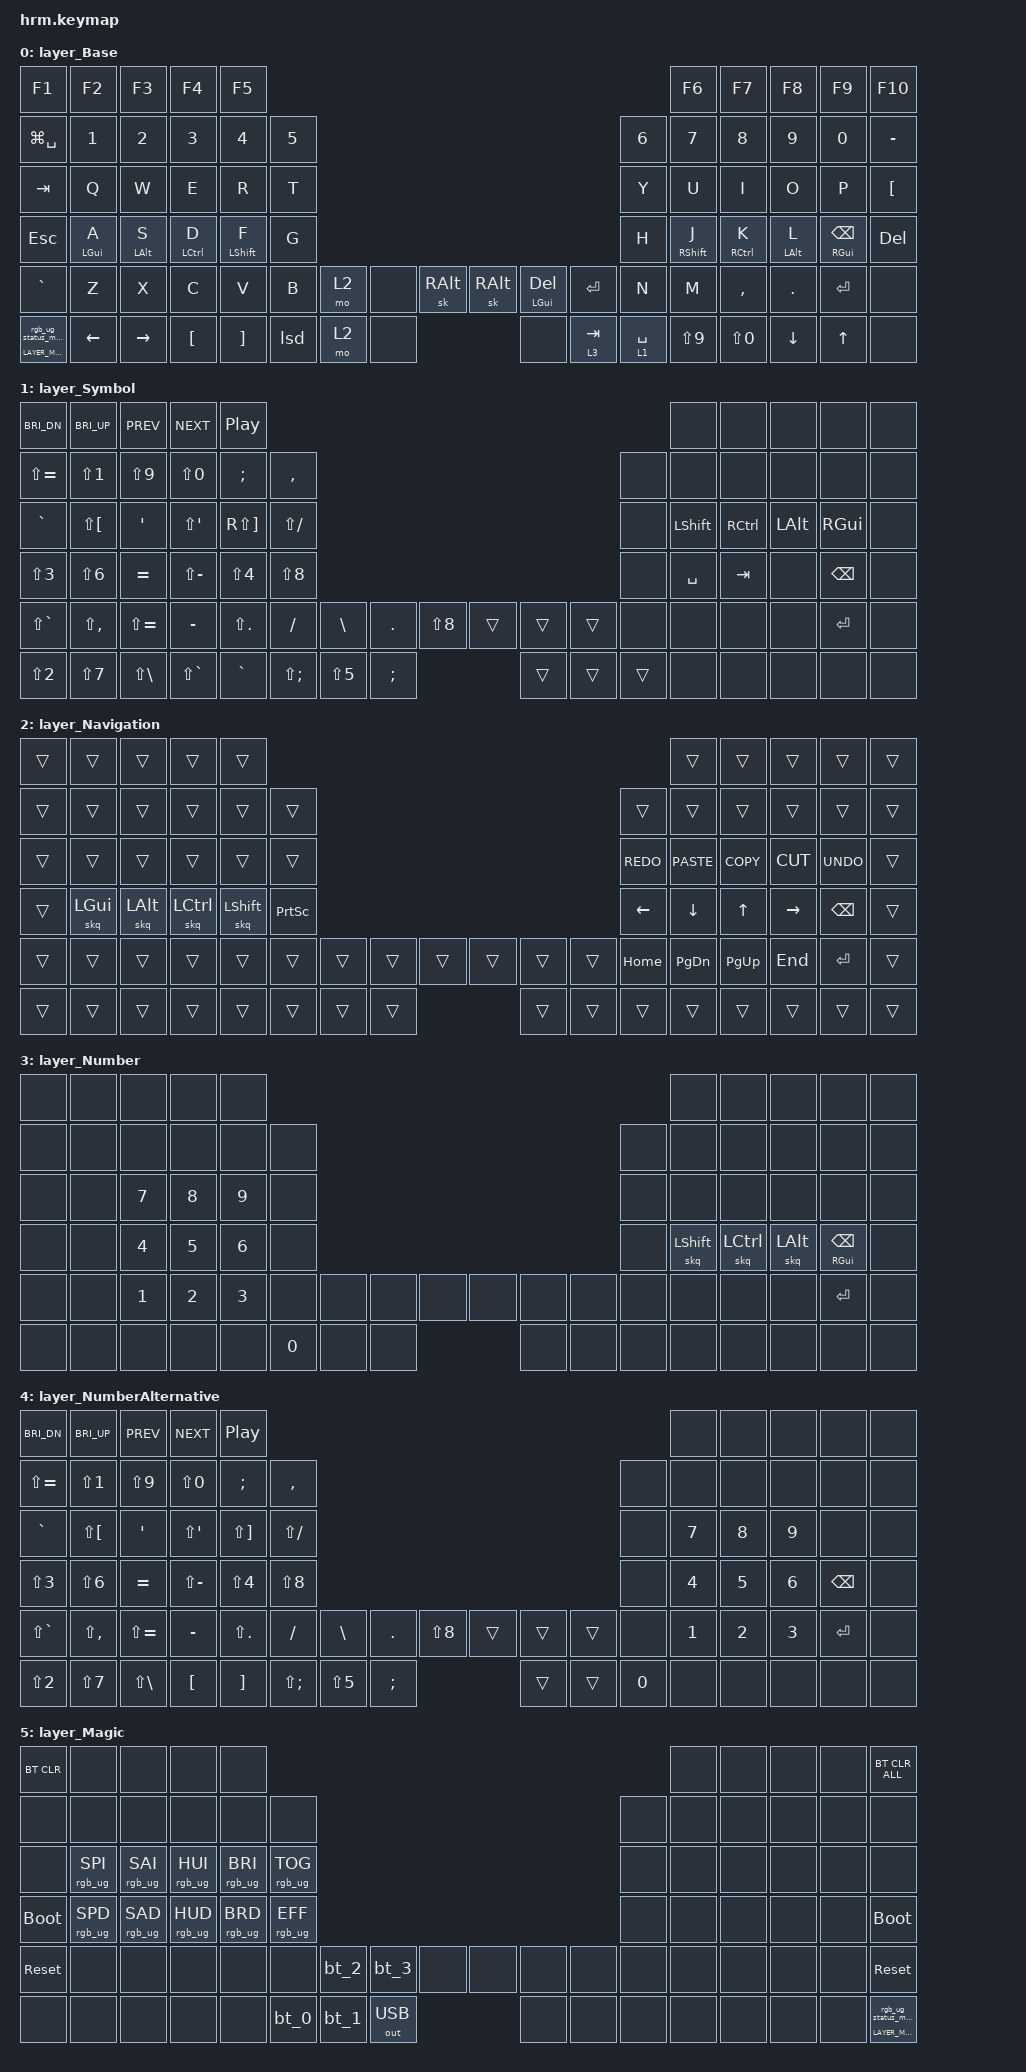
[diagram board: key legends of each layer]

/*
 * Copyright (c) 2020 The ZMK Contributors
 * Copyright (c) 2023 Innaworks Development Limited, trading as MoErgo
 *
 * SPDX-License-Identifier: MIT
 */


/* THIS FILE WAS GENERATED BY GLOVE80 LAYOUT EDITOR
 *
 * This file was generated automatically. You may or may not want to
 * edit it directly.
 */

#include <behaviors.dtsi>
/* Include all behavior includes needed */
#include <dt-bindings/zmk/outputs.h>
#include <dt-bindings/zmk/keys.h>
#include <dt-bindings/zmk/bt.h>
#include <dt-bindings/zmk/rgb.h>

/* Automatically generated layer name #define */
#define LAYER_Base 0
#define LAYER_Symbol 1
#define LAYER_Navigation 2
#define LAYER_Number 3
#define LAYER_NumberAlternative 4
#define LAYER_Magic 5

/* To deal with the situation where there is no Lower layer, to keep &lower happy */
#ifndef LAYER_Lower
#define LAYER_Lower 0
#endif

/* Custom Device-tree */



/* Glove80 system behavior & macros */
/ {
    behaviors {
        // For the "layer" key, it'd nice to be able to use it as either a shift or a toggle.
        // Configure it as a tap dance, so the first tap (or hold) is a &mo and the second tap is a &to
        lower: lower {
            compatible = "zmk,behavior-tap-dance";
            label = "LAYER_TAP_DANCE";
            #binding-cells = <0>;
            tapping-term-ms = <200>;
            bindings = <&mo LAYER_Lower>, <&to LAYER_Lower>;
        };
    };
};

/ {
    macros {
        rgb_ug_status_macro: rgb_ug_status_macro {
            label = "RGB_UG_STATUS";
            compatible = "zmk,behavior-macro";
            #binding-cells = <0>;
            bindings
                = <&rgb_ug RGB_STATUS>;
        };
    };
};


/ {
#ifdef BT_DISC_CMD
    behaviors {
        bt_0: bt_0 {
            compatible = "zmk,behavior-tap-dance";
            label = "BT_0";
            #binding-cells = <0>;
            tapping-term-ms = <200>;
            bindings = <&bt_select_0>, <&bt BT_DISC 0>;
        };
        bt_1: bt_1 {
            compatible = "zmk,behavior-tap-dance";
            label = "BT_1";
            #binding-cells = <0>;
            tapping-term-ms = <200>;
            bindings = <&bt_select_1>, <&bt BT_DISC 1>;
        };
        bt_2: bt_2 {
            compatible = "zmk,behavior-tap-dance";
            label = "BT_2";
            #binding-cells = <0>;
            tapping-term-ms = <200>;
            bindings = <&bt_select_2>, <&bt BT_DISC 2>;
        };
        bt_3: bt_3 {
            compatible = "zmk,behavior-tap-dance";
            label = "BT_3";
            #binding-cells = <0>;
            tapping-term-ms = <200>;
            bindings = <&bt_select_3>, <&bt BT_DISC 3>;
        };
    };
    macros {
        bt_select_0: bt_select_0 {
            label = "BT_SELECT_0";
            compatible = "zmk,behavior-macro";
            #binding-cells = <0>;
            bindings
                = <&out OUT_BLE>,
                  <&bt BT_SEL 0>;
        };
        bt_select_1: bt_select_1 {
            label = "BT_SELECT_1";
            compatible = "zmk,behavior-macro";
            #binding-cells = <0>;
            bindings
                = <&out OUT_BLE>,
                  <&bt BT_SEL 1>;
        };
        bt_select_2: bt_select_2 {
            label = "BT_SELECT_2";
            compatible = "zmk,behavior-macro";
            #binding-cells = <0>;
            bindings
                = <&out OUT_BLE>,
                  <&bt BT_SEL 2>;
        };
        bt_select_3: bt_select_3 {
            label = "BT_SELECT_3";
            compatible = "zmk,behavior-macro";
            #binding-cells = <0>;
            bindings
                = <&out OUT_BLE>,
                  <&bt BT_SEL 3>;
        };
    };
#else
    macros {
        bt_0: bt_0 {
            label = "BT_0";
            compatible = "zmk,behavior-macro";
            #binding-cells = <0>;
            bindings
                = <&out OUT_BLE>,
                  <&bt BT_SEL 0>;
        };
        bt_1: bt_1 {
            label = "BT_1";
            compatible = "zmk,behavior-macro";
            #binding-cells = <0>;
            bindings
                = <&out OUT_BLE>,
                  <&bt BT_SEL 1>;
        };
        bt_2: bt_2 {
            label = "BT_2";
            compatible = "zmk,behavior-macro";
            #binding-cells = <0>;
            bindings
                = <&out OUT_BLE>,
                  <&bt BT_SEL 2>;
        };
        bt_3: bt_3 {
            label = "BT_3";
            compatible = "zmk,behavior-macro";
            #binding-cells = <0>;
            bindings
                = <&out OUT_BLE>,
                  <&bt BT_SEL 3>;
        };
    };
#endif
};

/ {
    behaviors {
        magic: magic {
            compatible = "zmk,behavior-hold-tap";
            label = "MAGIC_HOLD_TAP";
            #binding-cells = <2>;
            flavor = "tap-preferred";
            tapping-term-ms = <200>;
            bindings = <&mo>, <&rgb_ug_status_macro>;
        };
    };
};

/* #define for key positions */
#define POS_LH_T1 52
#define POS_LH_T2 53
#define POS_LH_T3 54
#define POS_LH_T4 69
#define POS_LH_T5 70
#define POS_LH_T6 71
#define POS_LH_C1R2 15
#define POS_LH_C1R3 27
#define POS_LH_C1R4 39
#define POS_LH_C1R5 51
#define POS_LH_C2R1 4
#define POS_LH_C2R2 14
#define POS_LH_C2R3 26
#define POS_LH_C2R4 38
#define POS_LH_C2R5 50
#define POS_LH_C2R6 68
#define POS_LH_C3R1 3
#define POS_LH_C3R2 13
#define POS_LH_C3R3 25
#define POS_LH_C3R4 37
#define POS_LH_C3R5 49
#define POS_LH_C3R6 67
#define POS_LH_C4R1 2
#define POS_LH_C4R2 12
#define POS_LH_C4R3 24
#define POS_LH_C4R4 36
#define POS_LH_C4R5 48
#define POS_LH_C4R6 66
#define POS_LH_C5R1 1
#define POS_LH_C5R2 11
#define POS_LH_C5R3 23
#define POS_LH_C5R4 35
#define POS_LH_C5R5 47
#define POS_LH_C5R6 65
#define POS_LH_C6R1 0
#define POS_LH_C6R2 10
#define POS_LH_C6R3 22
#define POS_LH_C6R4 34
#define POS_LH_C6R5 46
#define POS_LH_C6R6 64
#define POS_RH_T1 57
#define POS_RH_T2 56
#define POS_RH_T3 55
#define POS_RH_T4 74
#define POS_RH_T5 73
#define POS_RH_T6 72
#define POS_RH_C1R2 16
#define POS_RH_C1R3 28
#define POS_RH_C1R4 40
#define POS_RH_C1R5 58
#define POS_RH_C2R1 5
#define POS_RH_C2R2 17
#define POS_RH_C2R3 29
#define POS_RH_C2R4 41
#define POS_RH_C2R5 59
#define POS_RH_C2R6 75
#define POS_RH_C3R1 6
#define POS_RH_C3R2 18
#define POS_RH_C3R3 30
#define POS_RH_C3R4 42
#define POS_RH_C3R5 60
#define POS_RH_C3R6 76
#define POS_RH_C4R1 7
#define POS_RH_C4R2 19
#define POS_RH_C4R3 31
#define POS_RH_C4R4 43
#define POS_RH_C4R5 61
#define POS_RH_C4R6 77
#define POS_RH_C5R1 8
#define POS_RH_C5R2 20
#define POS_RH_C5R3 32
#define POS_RH_C5R4 44
#define POS_RH_C5R5 62
#define POS_RH_C5R6 78
#define POS_RH_C6R1 9
#define POS_RH_C6R2 21
#define POS_RH_C6R3 33
#define POS_RH_C6R4 45
#define POS_RH_C6R5 63
#define POS_RH_C6R6 79

/* Custom Defined Behaviors */
/ {
    //
    // Glove80 key positions index for positional hold-tap
    // - https://discord.com/channels/877392805654306816/937645688244826154/1066713913351221248
    // - https://media.discordapp.net/attachments/937645688244826154/1066713913133121556/image.png
    //
    // |------------------------|------------------------|
    // | LEFT_HAND_KEYS         |        RIGHT_HAND_KEYS |
    // |                        |                        |
    // |  0  1  2  3  4         |          5  6  7  8  9 |
    // | 10 11 12 13 14 15      |      16 17 18 19 20 21 |
    // | 22 23 24 25 26 27      |      28 29 30 31 32 33 |
    // | 34 35 36 37 38 39      |      40 41 42 43 44 45 |
    // | 46 47 48 49 50 51      |      58 59 60 61 62 63 |
    // | 64 65 66 67 68         |         75 76 77 78 79 |
    // |                69 52   |   57 74                |
    // |                 70 53  |  56 73                 |
    // |                  71 54 | 55 72                  |
    // |------------------------|------------------------|
    //
#define LEFT_HAND_KEYS \
          0  1  2  3  4    \
         10 11 12 13 14 15 \
         22 23 24 25 26 27 \
         34 35 36 37 38 39  \
         46 47 48 49 50 51  \
         64 65 66 67 68
#define RIGHT_HAND_KEYS \
              5  6  7  8  9 \
          16 17 18 19 20 21 \
          28 29 30 31 32 33 \
          40 41 42 43 44 45 \
          58 59 60 61 62 63 \
             75 76 77 78 79
#define THUMB_KEYS      \
          69 52       57 74 \
           70 53     56 73  \
            71 54   55 72

combos {
        compatible = "zmk,combos";
        global-quick-tap-ms = <75>;
        combo_ao {
            timeout-ms = <50>;
            key-positions = <35 31>;
            bindings = <&ao>;
        };
        combo_ae {
            timeout-ms = <50>;
            key-positions = <35 25>;
            bindings = <&ae>;
        };
        combo_oe {
            timeout-ms = <50>;
            key-positions = <31 25>;
            bindings = <&oe>;
        };

        combo_lparen {
            timeout-ms = <50>;
            key-positions = <37 38>;
            bindings = <&kp LS(N9)>;
        };
        combo_rparen {
            timeout-ms = <50>;
            key-positions = <41 42>;
            bindings = <&kp LS(N0)>;
        };

        combo_lcurly {
            timeout-ms = <50>;
            key-positions = <25 26>;
            bindings = <&kp LS(LBKT)>;
        };
        combo_rcurly {
            timeout-ms = <50>;
            key-positions = <29 30>;
            bindings = <&kp LS(RBKT)>;
        };

        combo_lbracket {
            timeout-ms = <50>;
            key-positions = <49 50>;
            bindings = <&kp LBKT>;
        };
        combo_rbracket {
            timeout-ms = <50>;
            key-positions = <59 60>;
            bindings = <&kp RBKT>;
        };
};

behaviors {
    ao: ao {
        compatible = "zmk,behavior-macro";
        label = "ao";
        #binding-cells = <0>;
        bindings
            = <&macro_press &kp RALT>
            , <&macro_tap &kp A>
            , <&macro_release &kp RALT>
            , <&macro_tap &kp A>;
    }; 
    ae: ae {
        compatible = "zmk,behavior-macro";
        label = "ae";
        #binding-cells = <0>;
        bindings
            = <&macro_press &kp RALT>
            , <&macro_tap &kp A>
            , <&macro_release &kp RALT>
            , <&macro_press &kp LSHIFT>
            , <&macro_tap &kp SQT>
            , <&macro_release &kp LSHIFT>;
    };
    oe: oe {
        compatible = "zmk,behavior-macro";
        label = "oe";
        #binding-cells = <0>;
        bindings
            = <&macro_press &kp RALT>
            , <&macro_tap &kp O>
            , <&macro_release &kp RALT>
            , <&macro_press &kp LSHIFT>
            , <&macro_tap &kp SQT>
            , <&macro_release &kp LSHIFT>;
    };

    lt {
        flavor = "hold-preferred";
    };
    skq: sticky_key_quick {
        compatible = "zmk,behavior-sticky-key";
        #binding-cells = <1>;
        bindings = <&kp>;
        release-after-ms = <2000>;
        quick-release;
        ignore-modifiers;
    };
    lsd: left_shift_dance {
        compatible = "zmk,behavior-tap-dance";
        #binding-cells = <0>;
        tapping-term-ms = <200>;
        bindings = <&skq LSHIFT>, <&caps_word>;
    };
    rpi: require_prior_idle {
        compatible = "zmk,behavior-hold-tap";
        #binding-cells = <2>;
        flavor = "tap-preferred";
        tapping-term-ms = <200>;
        quick-tap-ms = <200>;
        require-prior-idle-ms = <100>;
        bindings = <&kp>, <&kp>;
    };
    rpil: require_prior_idle_layer {
        compatible = "zmk,behavior-hold-tap";
        #binding-cells = <2>;
        flavor = "tap-preferred";
        tapping-term-ms = <200>;
        quick-tap-ms = <200>;
        require-prior-idle-ms = <100>;
        bindings = <&mo>, <&kp>;
    };
    lhrm: homerow_mod_left {
        compatible = "zmk,behavior-hold-tap";
        flavor = "tap-preferred";
        hold-trigger-key-positions = <RIGHT_HAND_KEYS THUMB_KEYS>;
        hold-trigger-on-release; // wait for other home row mods
        tapping-term-ms = <280>;
        quick-tap-ms = <175>;
        require-prior-idle-ms = <50>;
        #binding-cells = <2>;
        bindings = <&kp>, <&kp>;
    };
    rhrm: homerow_mod_right {
        compatible = "zmk,behavior-hold-tap";
        flavor = "balanced";
        hold-trigger-key-positions = <LEFT_HAND_KEYS THUMB_KEYS>;
        hold-trigger-on-release; // wait for other home row mods
        tapping-term-ms = <280>;
        quick-tap-ms = <175>;
        require-prior-idle-ms = <50>;
        #binding-cells = <2>;
        bindings = <&kp>, <&kp>;
    };
};

};

/* Automatically generated macro definitions */
/ {
    macros {

    };
};

/* Automatically generated behavior definitions */
/ {
    behaviors {
    
    };
};

/* Automatically generated combos definitions */
/ {
    combos {
    compatible = "zmk,combos";
    };
};

/* Automatically generated keymap */
/ {
    keymap {
        compatible = "zmk,keymap";


        layer_Base {
            bindings = <
               &kp F1        &kp F2        &kp F3         &kp F4          &kp F5                                                                                               &kp F6         &kp F7        &kp F8                &kp F9    &kp F10
        &kp LG(SPACE)        &kp N1        &kp N2         &kp N3          &kp N4  &kp N5                                                                       &kp N6          &kp N7         &kp N8        &kp N9                &kp N0  &kp MINUS
              &kp TAB         &kp Q         &kp W          &kp E           &kp R   &kp T                                                                        &kp Y           &kp U          &kp I         &kp O                 &kp P   &kp LBKT
              &kp ESC  &lhrm LGUI A  &lhrm LALT S  &lhrm LCTRL D  &lhrm LSHIFT F   &kp G                                                                        &kp H  &rhrm RSHIFT J  &rhrm RCTRL K  &rhrm LALT L  &rhrm RGUI BACKSPACE    &kp DEL
            &kp GRAVE         &kp Z         &kp X          &kp C           &kp V   &kp B   &mo 2   &none  &sk RALT  &sk RALT  &rpi LGUI DELETE        &kp RET   &kp N           &kp M      &kp COMMA       &kp DOT               &kp RET      &none
 &magic LAYER_Magic 0      &kp LEFT     &kp RIGHT       &kp LBKT        &kp RBKT            &lsd   &mo 2     &none     &none       &rpil 3 TAB  &rpil 1 SPACE              &kp LS(N9)     &kp LS(N0)      &kp DOWN                &kp UP      &none
            >;
        };

        layer_Symbol {
            bindings = <
  &kp C_BRI_DN   &kp C_BRI_UP     &kp C_PREV     &kp C_NEXT      &kp C_PP                                                                                          &none      &none     &none     &none   &none
 &kp LS(EQUAL)     &kp LS(N1)     &kp LS(N9)     &kp LS(N0)      &kp SEMI     &kp COMMA                                                                 &none      &none      &none     &none     &none   &none
     &kp GRAVE   &kp LS(LBKT)        &kp SQT    &kp LS(SQT)  &kp RS(RBKT)  &kp LS(FSLH)                                                                 &none  &kp LSHFT  &kp RCTRL  &kp LALT  &kp RGUI   &none
    &kp LS(N3)     &kp LS(N6)      &kp EQUAL  &kp LS(MINUS)    &kp LS(N4)    &kp LS(N8)                                                                 &none  &kp SPACE    &kp TAB     &none  &kp BSPC   &none
 &kp LS(GRAVE)  &kp LS(COMMA)  &kp LS(EQUAL)      &kp MINUS   &kp LS(DOT)      &kp FSLH      &kp BSLH     &kp DOT  &kp LS(N8)  &trans  &trans  &trans   &none      &none      &none     &none   &kp RET   &none
    &kp LS(N2)     &kp LS(N7)   &kp LS(BSLH)  &kp LS(GRAVE)     &kp GRAVE                &kp LS(SEMI)  &kp LS(N5)    &kp SEMI  &trans  &trans  &trans              &none      &none     &none     &none   &none
            >;
        };

        layer_Navigation {
            bindings = <
 &trans     &trans     &trans      &trans       &trans                                                                              &trans      &trans     &trans      &trans  &trans
 &trans     &trans     &trans      &trans       &trans     &trans                                                      &trans       &trans      &trans     &trans      &trans  &trans
 &trans     &trans     &trans      &trans       &trans     &trans                                                  &kp K_REDO  &kp K_PASTE  &kp K_COPY  &kp K_CUT  &kp K_UNDO  &trans
 &trans  &skq LGUI  &skq LALT  &skq LCTRL  &skq LSHIFT  &kp PSCRN                                                    &kp LEFT     &kp DOWN      &kp UP  &kp RIGHT    &kp BSPC  &trans
 &trans     &trans     &trans      &trans       &trans     &trans  &trans  &trans  &trans  &trans  &trans  &trans    &kp HOME    &kp PG_DN   &kp PG_UP    &kp END     &kp RET  &trans
 &trans     &trans     &trans      &trans       &trans             &trans  &trans  &trans  &trans  &trans  &trans                   &trans      &trans     &trans      &trans  &trans
            >;
        };

        layer_Number {
            bindings = <
  &none   &none   &none   &none   &none                                                                        &none       &none      &none                 &none   &none
  &none   &none   &none   &none   &none   &none                                                   &none        &none       &none      &none                 &none   &none
  &none   &none  &kp N7  &kp N8  &kp N9   &none                                                   &none        &none       &none      &none                 &none   &none
  &none   &none  &kp N4  &kp N5  &kp N6   &none                                                   &none  &skq LSHIFT  &skq LCTRL  &skq LALT  &rhrm RGUI BACKSPACE   &none
  &none   &none  &kp N1  &kp N2  &kp N3   &none   &none   &none   &none   &none   &none   &none   &none        &none       &none      &none               &kp RET   &none
  &none   &none   &none   &none   &none          &kp N0   &none   &none   &none   &none   &none                &none       &none      &none                 &none   &none
            >;
        };

        layer_NumberAlternative {
            bindings = <
  &kp C_BRI_DN   &kp C_BRI_UP     &kp C_PREV     &kp C_NEXT      &kp C_PP                                                                                       &none   &none   &none     &none   &none
 &kp LS(EQUAL)     &kp LS(N1)     &kp LS(N9)     &kp LS(N0)      &kp SEMI     &kp COMMA                                                                 &none   &none   &none   &none     &none   &none
     &kp GRAVE   &kp LS(LBKT)        &kp SQT    &kp LS(SQT)  &kp LS(RBKT)  &kp LS(FSLH)                                                                 &none  &kp N7  &kp N8  &kp N9     &none   &none
    &kp LS(N3)     &kp LS(N6)      &kp EQUAL  &kp LS(MINUS)    &kp LS(N4)    &kp LS(N8)                                                                 &none  &kp N4  &kp N5  &kp N6  &kp BSPC   &none
 &kp LS(GRAVE)  &kp LS(COMMA)  &kp LS(EQUAL)      &kp MINUS   &kp LS(DOT)      &kp FSLH      &kp BSLH     &kp DOT  &kp LS(N8)  &trans  &trans  &trans   &none  &kp N1  &kp N2  &kp N3   &kp RET   &none
    &kp LS(N2)     &kp LS(N7)   &kp LS(BSLH)       &kp LBKT      &kp RBKT                &kp LS(SEMI)  &kp LS(N5)    &kp SEMI  &trans  &trans  &kp N0           &none   &none   &none     &none   &none
            >;
        };

        layer_Magic {
            bindings = <
  &bt BT_CLR            &none            &none            &none            &none                                                                                  &none   &none   &none   &none        &bt BT_CLR_ALL
       &none            &none            &none            &none            &none            &none                                                         &none   &none   &none   &none   &none                 &none
       &none  &rgb_ug RGB_SPI  &rgb_ug RGB_SAI  &rgb_ug RGB_HUI  &rgb_ug RGB_BRI  &rgb_ug RGB_TOG                                                         &none   &none   &none   &none   &none                 &none
 &bootloader  &rgb_ug RGB_SPD  &rgb_ug RGB_SAD  &rgb_ug RGB_HUD  &rgb_ug RGB_BRD  &rgb_ug RGB_EFF                                                         &none   &none   &none   &none   &none           &bootloader
  &sys_reset            &none            &none            &none            &none            &none   &bt_2   &bt_3         &none   &none   &none   &none   &none   &none   &none   &none   &none            &sys_reset
       &none            &none            &none            &none            &none                    &bt_0   &bt_1  &out OUT_USB   &none   &none   &none           &none   &none   &none   &none  &magic LAYER_Magic 0
            >;
        };

    };
};
